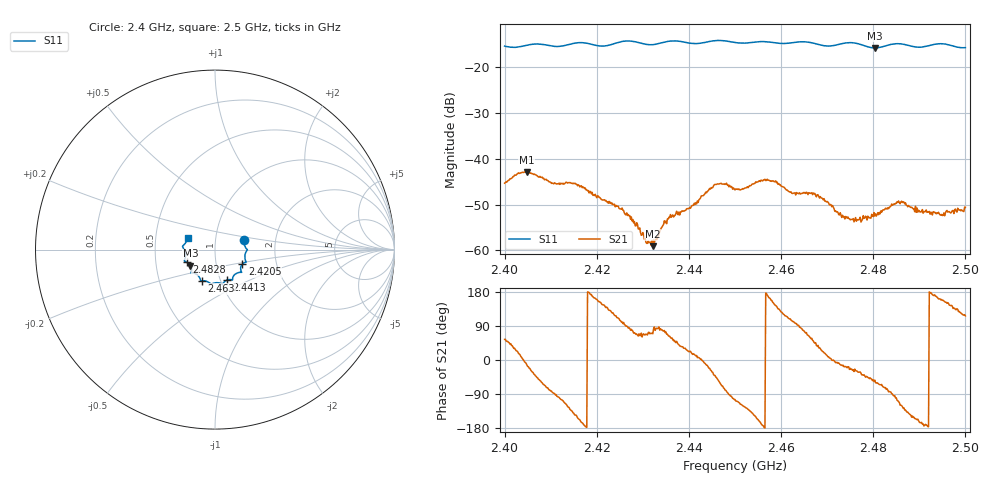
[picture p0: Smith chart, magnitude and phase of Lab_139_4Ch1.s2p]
# Hz S RI R 50
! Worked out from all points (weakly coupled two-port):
!   601 points, 2.4 GHz to 2.5 GHz, reference 50 ohm
!   highest |S21| = -42.82 dB at 2.4048 GHz (marker M1); lowest = -59.1 dB at 2.4322 GHz (marker M2)
!   lowest |S11| = -15.7 dB at 2.4803 GHz (marker M3), VSWR 1.39, Z = 37.4 - j6.84 ohm
!   |S11| at or under -10 dB: start of sweep to end of sweep
!   S12 and S22 are empty: the file has one direction only
!   S11 on the Smith chart (normalised r, x): 2.4 GHz: 1.38, +0.15; 2.4205 GHz: 1.34, -0.22; 2.4413 GHz: 1.08, -0.38; 2.463 GHz: 0.82, -0.29; 2.4828 GHz: 0.72, -0.10; 2.5 GHz: 0.73, +0.10
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2.4e9  0.163 0.0523  0.00317 0.00442  0 0  0 0
2.404833e9  0.1749 0.00503  0.00704 -0.00165  0 0  0 0
2.416667e9  0.1733 -0.0697  -0.00491 -0.00136  0 0  0 0
2.4205e9  0.152 -0.081  -0.00342 0.00165  0 0  0 0
2.425333e9  0.1469 -0.1231  -0.000505 0.00278  0 0  0 0
2.430833e9  0.1199 -0.1324  0.000464 0.0011  0 0  0 0
2.432167e9  0.1073 -0.1415  0.000394 0.00104  0 0  0 0
2.433333e9  0.1005 -0.1516  0.000169 0.00141  0 0  0 0
2.435833e9  0.0977 -0.1675  0.00105 0.00203  0 0  0 0
2.441333e9  0.0675 -0.1695  0.00311 0.000703  0 0  0 0
2.445833e9  0.0421 -0.1923  0.00372 -0.00373  0 0  0 0
2.45e9  0.0247 -0.1859  -0.00113 -0.00445  0 0  0 0
2.456667e9  -0.0238 -0.1899  -0.00579 0.000327  0 0  0 0
2.463e9  -0.072 -0.1738  -0.000567 0.00423  0 0  0 0
2.466667e9  -0.0817 -0.1673  0.00232 0.0036  0 0  0 0
2.475333e9  -0.1337 -0.1303  0.002 -0.000889  0 0  0 0
2.480333e9  -0.1373 -0.089  0.00142 -0.0019  0 0  0 0
2.482833e9  -0.1586 -0.07  0.000619 -0.00281  0 0  0 0
2.483333e9  -0.1625 -0.0682  0.000302 -0.00285  0 0  0 0
2.4865e9  -0.1696 -0.0592  -0.00205 -0.00272  0 0  0 0
2.495e9  -0.1808 0.0186  -0.00222 0.000924  0 0  0 0
2.5e9  -0.152 0.064  -0.00132 0.00266  0 0  0 0
